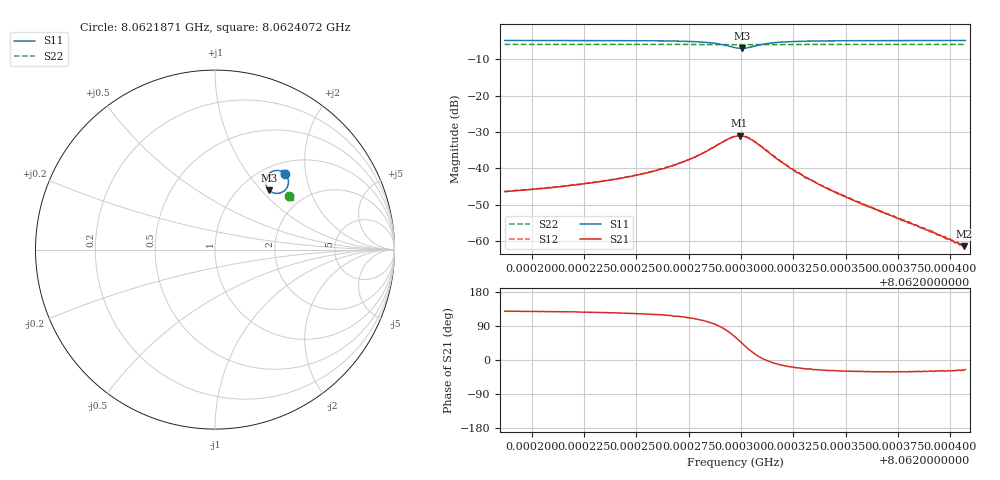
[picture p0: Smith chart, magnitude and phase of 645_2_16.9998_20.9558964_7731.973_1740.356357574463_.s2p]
#  HZ  S  RI  R  50.00
! Rohde & Schwarz Vector Network Analyzer
! Rohde-Schwarz,ZNB20-2Port,1311601062101988,3.16
! Created: UTC 3/20/2024, 11:21:00 PM
! freq[Hz]  re:S11  im:S11  re:S21  im:S21  re:S12  im:S12  re:S22  im:S22
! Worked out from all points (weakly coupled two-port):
!   401 points, 8.0621871 GHz to 8.0624072 GHz, reference 50 ohm
!   highest |S21| = -31.04 dB at 8.0622993 GHz (marker M1); lowest = -61.4 dB at 8.0624067 GHz (marker M2)
!   lowest |S11| = -7.0 dB at 8.0623004 GHz (marker M3), VSWR 2.62, Z = 66.8 + j55.4 ohm
!   |S11| at or under -10 dB: nowhere
!   |S22| runs from -6.0 to -5.9 dB; largest |S21 - S12| = 0.0014
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8.06218706e9  0.3912 0.4225  -0.00299 0.00374  -0.00279 0.0039  0.4097 0.3012
8.06222393e9  0.3967 0.4157  -0.0036 0.00489  -0.00337 0.00509  0.411 0.2991
8.06224705e9  0.4018 0.4076  -0.0042 0.00647  -0.00389 0.0067  0.412 0.2975
8.06226081e9  0.4057 0.3987  -0.00466 0.00844  -0.00421 0.00866  0.4123 0.2965
8.06227457e9  0.4094 0.3809  -0.00467 0.012  -0.00416 0.0124  0.4128 0.295
8.06228613e9  0.4025 0.3481  -0.00236 0.0188  -0.00142 0.0189  0.4124 0.2933
8.06229163e9  0.3816 0.3244  0.00264 0.0233  0.00384 0.0231  0.4114 0.2922
8.06229713e9  0.3338 0.3142  0.0133 0.0241  0.0144 0.0234  0.4095 0.292
8.06229933e9  0.311 0.3233  0.018 0.0216  0.0191 0.0209  0.4089 0.2926
8.06230044e9  0.301 0.3313  0.0199 0.0195  0.0209 0.0188  0.4085 0.293
8.06230264e9  0.2867 0.3518  0.0224 0.0147  0.0232 0.014  0.4084 0.2939
8.06230539e9  0.2816 0.3796  0.0228 0.00861  0.0235 0.00773  0.4084 0.2951
8.06231309e9  0.3054 0.4268  0.0166 -0.000835  0.0168 -0.00178  0.4102 0.2965
8.06231805e9  0.3226 0.4367  0.0127 -0.00267  0.0127 -0.00346  0.4112 0.2964
8.06232575e9  0.3413 0.4408  0.00866 -0.00309  0.00858 -0.00366  0.4125 0.2961
8.06233401e9  0.3536 0.4405  0.00613 -0.00286  0.00602 -0.00319  0.4131 0.2955
8.06234557e9  0.3641 0.4384  0.004 -0.00219  0.00398 -0.00249  0.414 0.2946
8.06237088e9  0.3756 0.4335  0.00195 -0.00117  0.00192 -0.00128  0.4152 0.2932
8.06239125e9  0.3808 0.4306  0.00116 -0.000644  0.00113 -0.000754  0.416 0.2919
8.06240501e9  0.3833 0.4291  0.000789 -0.000419  0.000817 -0.000444  0.4167 0.2912
8.06240666e9  0.3835 0.4288  0.000756 -0.000382  0.000768 -0.000435  0.4166 0.291
8.06240721e9  0.3837 0.4287  0.000772 -0.000361  0.000765 -0.00041  0.4167 0.2909
